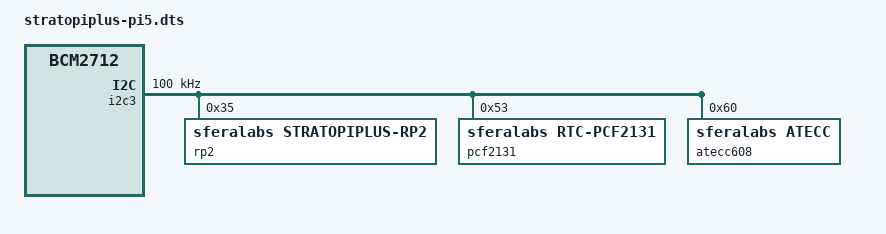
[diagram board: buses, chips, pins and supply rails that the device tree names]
/dts-v1/;
/plugin/;

/ {
    compatible = "brcm,bcm2712";

    fragment@0 {
        target-path = "/";
        __overlay__ {
            stratopiplus: stratopiplus {
                compatible = "sferalabs,stratopiplus";
                status = "okay";
            };
        };
    };

    fragment@1 {
        target = <&rpi_rtc>;
        __overlay__ {
            status = "disabled";
        };
    };

    fragment@2 {
        target = <&i2c3>;
        __overlay__ {
            #address-cells = <1>;
            #size-cells = <0>;
            status = "okay";
            clock-frequency = <100000>;
            pinctrl-0 = <&rp1_i2c3_22_23>;

            rp2: rp2@35 {
                compatible = "sferalabs,stratopiplus-rp2";
                reg = <0x35>;
                status = "okay";
            };

            pcf2131: pcf2131@53 {
                compatible = "sferalabs,rtc-pcf2131";
                reg = <0x53>;
                status = "okay";
            };

            atecc608: atecc608@60 {
                compatible = "sferalabs,atecc";
                reg = <0x60>;
                status = "okay";
            };
        };
    };
};
